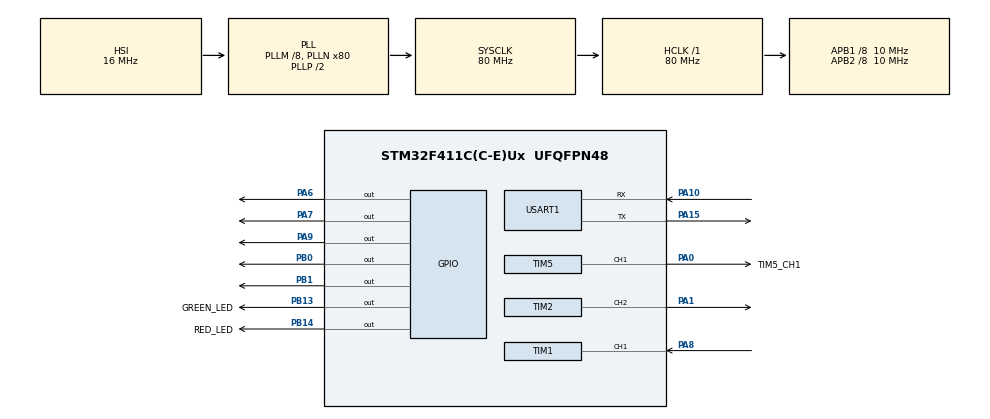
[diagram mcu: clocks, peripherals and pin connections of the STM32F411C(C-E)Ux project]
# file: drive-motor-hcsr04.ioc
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Dma.Request0=USART1_RX
Dma.USART1_RX.0.Direction=DMA_PERIPH_TO_MEMORY
Dma.USART1_RX.0.FIFOMode=DMA_FIFOMODE_DISABLE
Dma.USART1_RX.0.Instance=DMA2_Stream2
Dma.USART1_RX.0.MemDataAlignment=DMA_MDATAALIGN_BYTE
Dma.USART1_RX.0.MemInc=DMA_MINC_ENABLE
Dma.USART1_RX.0.Mode=DMA_NORMAL
Dma.USART1_RX.0.PeriphDataAlignment=DMA_PDATAALIGN_BYTE
Dma.USART1_RX.0.PeriphInc=DMA_PINC_DISABLE
Dma.USART1_RX.0.Priority=DMA_PRIORITY_LOW
Mcu.Family=STM32F4
Mcu.Name=STM32F411C(C-E)Ux
Mcu.Package=UFQFPN48
NVIC.DMA2_Stream2_IRQn=true\:0\:0\:false\:false\:true\:false\:true\:true
NVIC.PriorityGroup=NVIC_PRIORITYGROUP_4
NVIC.TIM1_CC_IRQn=true\:0\:0\:true\:false\:true\:true\:true\:true
NVIC.USART1_IRQn=true\:7\:0\:true\:false\:true\:true\:true\:true
PA0-WKUP.GPIO_Label=TIM5_CH1
PA0-WKUP.Signal=S_TIM5_CH1
PA1.Signal=S_TIM2_CH2
PA10.Mode=Asynchronous
PA10.Signal=USART1_RX
PA13.Mode=Serial_Wire
PA13.Signal=SYS_JTMS-SWDIO
PA14.Mode=Serial_Wire
PA14.Signal=SYS_JTCK-SWCLK
PA15.Mode=Asynchronous
PA15.Signal=USART1_TX
PA6.Signal=GPIO_Output
PA7.PinState=GPIO_PIN_RESET
PA7.Signal=GPIO_Output
PA8.Signal=S_TIM1_CH1
PA9.Signal=GPIO_Output
PB0.Signal=GPIO_Output
PB1.Signal=GPIO_Output
PB13.GPIO_Label=GREEN_LED
PB13.Signal=GPIO_Output
PB14.GPIO_Label=RED_LED
PB14.GPIO_PuPd=GPIO_PULLUP
PB14.PinState=GPIO_PIN_SET
PB14.Signal=GPIO_Output
PH0\ -\ OSC_IN.Mode=HSE-External-Oscillator
PH0\ -\ OSC_IN.Signal=RCC_OSC_IN
PH1\ -\ OSC_OUT.Mode=HSE-External-Oscillator
PH1\ -\ OSC_OUT.Signal=RCC_OSC_OUT
ProjectManager.HeapSize=0x200
ProjectManager.StackSize=0x400
ProjectManager.TargetToolchain=STM32CubeIDE
RCC.48MHZClocksFreq_Value=40000000
RCC.AHBFreq_Value=80000000
RCC.APB1CLKDivider=RCC_HCLK_DIV8
RCC.APB1Freq_Value=10000000
RCC.APB1TimFreq_Value=20000000
RCC.APB2CLKDivider=RCC_HCLK_DIV8
RCC.APB2Freq_Value=10000000
RCC.APB2TimFreq_Value=20000000
RCC.CortexFreq_Value=80000000
RCC.HCLKFreq_Value=80000000
RCC.HSE_VALUE=25000000
RCC.HSI_VALUE=16000000
RCC.LSE_VALUE=32768
RCC.PLLM=8
RCC.PLLN=80
RCC.SYSCLKFreq_VALUE=80000000
RCC.SYSCLKSource=RCC_SYSCLKSOURCE_PLLCLK
RCC.VCOOutputFreq_Value=160000000
SH.S_TIM1_CH1.0=TIM1_CH1,Input_Capture1_from_TI1
SH.S_TIM2_CH2.0=TIM2_CH2,PWM Generation2 CH2
SH.S_TIM5_CH1.0=TIM5_CH1,PWM Generation1 CH1
TIM1.AutoReloadPreload=TIM_AUTORELOAD_PRELOAD_DISABLE
TIM1.Channel-Input_Capture1_from_TI1=TIM_CHANNEL_1
TIM1.Period=0xffff-1
TIM1.Prescaler=20-1
TIM2.AutoReloadPreload=TIM_AUTORELOAD_PRELOAD_ENABLE
TIM2.Channel-PWM\ Generation2\ CH2=TIM_CHANNEL_2
TIM2.Period=50-1
TIM2.Prescaler=20-1
TIM5.AutoReloadPreload=TIM_AUTORELOAD_PRELOAD_ENABLE
TIM5.Channel-PWM\ Generation1\ CH1=TIM_CHANNEL_1
TIM5.Period=50-1
TIM5.Prescaler=20-1
USART1.VirtualMode=VM_ASYNC
VP_TIM1_VS_ClockSourceINT.Mode=Internal
VP_TIM2_VS_ClockSourceINT.Mode=Internal
board=custom

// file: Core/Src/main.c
/* USER CODE BEGIN Header */
/**
  ******************************************************************************
  * @file           : main.c
  * @brief          : Main program body
  ******************************************************************************
  * @attention
  *
  * Copyright (c) 2023 STMicroelectronics.
  * All rights reserved.
  *
  * This software is licensed under terms that can be found in the LICENSE file
  * in the root directory of this software component.
  * If no LICENSE file comes with this software, it is provided AS-IS.
  *
  ******************************************************************************
  */
/* USER CODE END Header */
#include "main.h"

/* USER CODE BEGIN Includes */
#include <stdio.h>
#include "motor.h"
#include "hcsr04.h"
#include <string.h>
#include "stm32f4xx_hal_tim.h"

/* USER CODE END Includes */

/* USER CODE BEGIN PD */
#define BUFFER_SIZE 8
#define GREEN_LED GPIO_PIN_13
#define RED_LED GPIO_PIN_14
#define SIZE_RX_COORD 10

#define kpx 0.5
#define kix 0.6
#define kdx 0.7
#define delta_time 0.1 // 0.1 segundos que é 100ms

/* USER CODE END PD */

TIM_HandleTypeDef htim1;
TIM_HandleTypeDef htim2;
TIM_HandleTypeDef htim5;

UART_HandleTypeDef huart1;
DMA_HandleTypeDef hdma_usart1_rx;

/* USER CODE BEGIN PV */
uint32_t val_1 = 0;
uint32_t val_2 = 0;
uint32_t difference = 0;
uint8_t flag_raise = 0;
uint16_t distance;
uint16_t stop_flag = 0;

int countfull=0;
uint8_t RxCoord[SIZE_RX_COORD];
int received_x, received_y, area,status;
double saidax;
//double offset;
//double sum_offsets = 0.0;
//double P, I, D;
//double pre_offset=0;
//double PID;

/* USER CODE END PV */

void SystemClock_Config(void);
static void MX_GPIO_Init(void);
static void MX_DMA_Init(void);
static void MX_TIM2_Init(void);
static void MX_TIM5_Init(void);
static void MX_TIM1_Init(void);
static void MX_USART1_UART_Init(void);

/* USER CODE BEGIN 0 */
void HAL_TIM_IC_CaptureCallback(TIM_HandleTypeDef *htim){
  	if (htim->Channel == HAL_TIM_ACTIVE_CHANNEL_1){
  		if (flag_raise==0){
  			val_1 = HAL_TIM_ReadCapturedValue(htim, TIM_CHANNEL_1);
  			flag_raise=1;
  			__HAL_TIM_SET_CAPTUREPOLARITY(htim, TIM_CHANNEL_1, TIM_INPUTCHANNELPOLARITY_FALLING);
  		}

  		else if (flag_raise == 1){
  			val_2 = HAL_TIM_ReadCapturedValue(htim, TIM_CHANNEL_1);
  			__HAL_TIM_SET_COUNTER(htim,0);

  			if (val_2 > val_1){
  				difference = val_2 - val_1;
  			}
  			else if (val_1 > val_2){
  				difference = (0xffff - val_1) + val_2;
  			}

  			distance = difference/58;
  			char message[50];
  			sprintf(message, "Distancia: %d cm \r\n",distance);
  			HAL_UART_Transmit(&huart1, (uint8_t*)message, strlen(message), HAL_MAX_DELAY);
  			if(distance > 15){
  				//HAL_GPIO_WritePin(GPIOB, GPIO_PIN_13, 1); //verde
  				HAL_GPIO_WritePin(GPIOB, GPIO_PIN_14, 0); //vermelho
  				stop_flag = 0;
  				//motor_stright();
  			}
  			else{
  				//HAL_GPIO_WritePin(GPIOB, GPIO_PIN_13, 0); //verde
  				HAL_GPIO_WritePin(GPIOB, GPIO_PIN_14, 1); //vermelho
  				stop_flag = 1;
  				//motor_desvia(distance);
  				//HAL_Delay(1500);
  				//motor_left();
  				//HAL_Delay(1500);
  			}

			flag_raise = 0;
			__HAL_TIM_SET_CAPTUREPOLARITY(htim, TIM_CHANNEL_1, TIM_INPUTCHANNELPOLARITY_RISING);
			__HAL_TIM_DISABLE_IT(&htim1, TIM_IT_CC1);
  		}
  	}
}

/* USER CODE END 0 */

int main(void)
{

  /* MCU Configuration--------------------------------------------------------*/

  /* Reset of all peripherals, Initializes the Flash interface and the Systick. */
  HAL_Init();

  /* Configure the system clock */
  SystemClock_Config();

  /* Initialize all configured peripherals */
  MX_GPIO_Init();
  MX_DMA_Init();
  MX_TIM2_Init();
  MX_TIM5_Init();
  MX_TIM1_Init();
  MX_USART1_UART_Init();
  /* USER CODE BEGIN 2 */
  HAL_TIM_PWM_Start(&htim2, TIM_CHANNEL_2);
  HAL_TIM_PWM_Start(&htim5, TIM_CHANNEL_1);
  HAL_TIM_IC_Start_IT(&htim1, TIM_CHANNEL_1);
  HAL_UART_Receive_DMA(&huart1, RxCoord, SIZE_RX_COORD) ;

  /* USER CODE END 2 */

  /* Infinite loop */
  /* USER CODE BEGIN WHILE */
  while (1)
  {
	  //motor_stright();
//	  HAL_Delay(5000);
//	  motor_stop();
//	  HAL_Delay(5000);
//	  motor_right();
//	  HAL_Delay(5000);
//	  motor_stop();
//	  HAL_Delay(5000);
//	  motor_left();
//	  HAL_Delay(5000);
//	  motor_stop();
//	  HAL_Delay(5000);
//	  motor_backwards();
//	  HAL_Delay(5000);
//	  motor_stop();
//	  HAL_Delay(5000);
	  Read_HCSR04();
	  HAL_Delay(200);
//	  if(distance > 15){
//		HAL_GPIO_WritePin(GPIOB, GREEN_LED, 1); //verde
//		HAL_GPIO_WritePin(GPIOB, RED_LED, 0); //vermelho
//		//motor_stright();
//	  }
//	  else if(distance <= 15){
//		HAL_GPIO_WritePin(GPIOB, GREEN_LED, 0); //verde
//		HAL_GPIO_WritePin(GPIOB, RED_LED, 1); //vermelho
//		//motor_desvia(distance);
//    }

    /* USER CODE END WHILE */

  }
}

void SystemClock_Config(void)
{
  RCC_OscInitTypeDef RCC_OscInitStruct = {0};
  RCC_ClkInitTypeDef RCC_ClkInitStruct = {0};

  /** Configure the main internal regulator output voltage
  */
  __HAL_RCC_PWR_CLK_ENABLE();
  __HAL_PWR_VOLTAGESCALING_CONFIG(PWR_REGULATOR_VOLTAGE_SCALE1);

  /** Initializes the RCC Oscillators according to the specified parameters
  * in the RCC_OscInitTypeDef structure.
  */
  RCC_OscInitStruct.OscillatorType = RCC_OSCILLATORTYPE_HSI;
  RCC_OscInitStruct.HSIState = RCC_HSI_ON;
  RCC_OscInitStruct.HSICalibrationValue = RCC_HSICALIBRATION_DEFAULT;
  RCC_OscInitStruct.PLL.PLLState = RCC_PLL_ON;
  RCC_OscInitStruct.PLL.PLLSource = RCC_PLLSOURCE_HSI;
  RCC_OscInitStruct.PLL.PLLM = 8;
  RCC_OscInitStruct.PLL.PLLN = 80;
  RCC_OscInitStruct.PLL.PLLP = RCC_PLLP_DIV2;
  RCC_OscInitStruct.PLL.PLLQ = 4;
  if (HAL_RCC_OscConfig(&RCC_OscInitStruct) != HAL_OK)
  {
    Error_Handler();
  }

  /** Initializes the CPU, AHB and APB buses clocks
  */
  RCC_ClkInitStruct.ClockType = RCC_CLOCKTYPE_HCLK|RCC_CLOCKTYPE_SYSCLK
                              |RCC_CLOCKTYPE_PCLK1|RCC_CLOCKTYPE_PCLK2;
  RCC_ClkInitStruct.SYSCLKSource = RCC_SYSCLKSOURCE_PLLCLK;
  RCC_ClkInitStruct.AHBCLKDivider = RCC_SYSCLK_DIV1;
  RCC_ClkInitStruct.APB1CLKDivider = RCC_HCLK_DIV8;
  RCC_ClkInitStruct.APB2CLKDivider = RCC_HCLK_DIV8;

  if (HAL_RCC_ClockConfig(&RCC_ClkInitStruct, FLASH_LATENCY_2) != HAL_OK)
  {
    Error_Handler();
  }
}

static void MX_TIM1_Init(void)
{

  TIM_ClockConfigTypeDef sClockSourceConfig = {0};
  TIM_MasterConfigTypeDef sMasterConfig = {0};
  TIM_IC_InitTypeDef sConfigIC = {0};

  htim1.Instance = TIM1;
  htim1.Init.Prescaler = 20-1;
  htim1.Init.CounterMode = TIM_COUNTERMODE_UP;
  htim1.Init.Period = 0xffff-1;
  htim1.Init.ClockDivision = TIM_CLOCKDIVISION_DIV1;
  htim1.Init.RepetitionCounter = 0;
  htim1.Init.AutoReloadPreload = TIM_AUTORELOAD_PRELOAD_DISABLE;
  if (HAL_TIM_Base_Init(&htim1) != HAL_OK)
  {
    Error_Handler();
  }
  sClockSourceConfig.ClockSource = TIM_CLOCKSOURCE_INTERNAL;
  if (HAL_TIM_ConfigClockSource(&htim1, &sClockSourceConfig) != HAL_OK)
  {
    Error_Handler();
  }
  if (HAL_TIM_IC_Init(&htim1) != HAL_OK)
  {
    Error_Handler();
  }
  sMasterConfig.MasterOutputTrigger = TIM_TRGO_RESET;
  sMasterConfig.MasterSlaveMode = TIM_MASTERSLAVEMODE_DISABLE;
  if (HAL_TIMEx_MasterConfigSynchronization(&htim1, &sMasterConfig) != HAL_OK)
  {
    Error_Handler();
  }
  sConfigIC.ICPolarity = TIM_INPUTCHANNELPOLARITY_RISING;
  sConfigIC.ICSelection = TIM_ICSELECTION_DIRECTTI;
  sConfigIC.ICPrescaler = TIM_ICPSC_DIV1;
  sConfigIC.ICFilter = 0;
  if (HAL_TIM_IC_ConfigChannel(&htim1, &sConfigIC, TIM_CHANNEL_1) != HAL_OK)
  {
    Error_Handler();
  }

}

static void MX_TIM2_Init(void)
{

  TIM_ClockConfigTypeDef sClockSourceConfig = {0};
  TIM_MasterConfigTypeDef sMasterConfig = {0};
  TIM_OC_InitTypeDef sConfigOC = {0};

  htim2.Instance = TIM2;
  htim2.Init.Prescaler = 20-1;
  htim2.Init.CounterMode = TIM_COUNTERMODE_UP;
  htim2.Init.Period = 50-1;
  htim2.Init.ClockDivision = TIM_CLOCKDIVISION_DIV1;
  htim2.Init.AutoReloadPreload = TIM_AUTORELOAD_PRELOAD_ENABLE;
  if (HAL_TIM_Base_Init(&htim2) != HAL_OK)
  {
    Error_Handler();
  }
  sClockSourceConfig.ClockSource = TIM_CLOCKSOURCE_INTERNAL;
  if (HAL_TIM_ConfigClockSource(&htim2, &sClockSourceConfig) != HAL_OK)
  {
    Error_Handler();
  }
  if (HAL_TIM_PWM_Init(&htim2) != HAL_OK)
  {
    Error_Handler();
  }
  sMasterConfig.MasterOutputTrigger = TIM_TRGO_RESET;
  sMasterConfig.MasterSlaveMode = TIM_MASTERSLAVEMODE_DISABLE;
  if (HAL_TIMEx_MasterConfigSynchronization(&htim2, &sMasterConfig) != HAL_OK)
  {
    Error_Handler();
  }
  sConfigOC.OCMode = TIM_OCMODE_PWM1;
  sConfigOC.Pulse = 0;
  sConfigOC.OCPolarity = TIM_OCPOLARITY_HIGH;
  sConfigOC.OCFastMode = TIM_OCFAST_DISABLE;
  if (HAL_TIM_PWM_ConfigChannel(&htim2, &sConfigOC, TIM_CHANNEL_2) != HAL_OK)
  {
    Error_Handler();
  }
  HAL_TIM_MspPostInit(&htim2);

}

static void MX_TIM5_Init(void)
{

  TIM_MasterConfigTypeDef sMasterConfig = {0};
  TIM_OC_InitTypeDef sConfigOC = {0};

  htim5.Instance = TIM5;
  htim5.Init.Prescaler = 20-1;
  htim5.Init.CounterMode = TIM_COUNTERMODE_UP;
  htim5.Init.Period = 50-1;
  htim5.Init.ClockDivision = TIM_CLOCKDIVISION_DIV1;
  htim5.Init.AutoReloadPreload = TIM_AUTORELOAD_PRELOAD_ENABLE;
  if (HAL_TIM_PWM_Init(&htim5) != HAL_OK)
  {
    Error_Handler();
  }
  sMasterConfig.MasterOutputTrigger = TIM_TRGO_RESET;
  sMasterConfig.MasterSlaveMode = TIM_MASTERSLAVEMODE_DISABLE;
  if (HAL_TIMEx_MasterConfigSynchronization(&htim5, &sMasterConfig) != HAL_OK)
  {
    Error_Handler();
  }
  sConfigOC.OCMode = TIM_OCMODE_PWM1;
  sConfigOC.Pulse = 0;
  sConfigOC.OCPolarity = TIM_OCPOLARITY_HIGH;
  sConfigOC.OCFastMode = TIM_OCFAST_DISABLE;
  if (HAL_TIM_PWM_ConfigChannel(&htim5, &sConfigOC, TIM_CHANNEL_1) != HAL_OK)
  {
    Error_Handler();
  }
  HAL_TIM_MspPostInit(&htim5);

}

static void MX_USART1_UART_Init(void)
{

  huart1.Instance = USART1;
  huart1.Init.BaudRate = 115200;
  huart1.Init.WordLength = UART_WORDLENGTH_8B;
  huart1.Init.StopBits = UART_STOPBITS_1;
  huart1.Init.Parity = UART_PARITY_NONE;
  huart1.Init.Mode = UART_MODE_TX_RX;
  huart1.Init.HwFlowCtl = UART_HWCONTROL_NONE;
  huart1.Init.OverSampling = UART_OVERSAMPLING_16;
  if (HAL_UART_Init(&huart1) != HAL_OK)
  {
    Error_Handler();
  }

}

static void MX_DMA_Init(void)
{

  /* DMA controller clock enable */
  __HAL_RCC_DMA2_CLK_ENABLE();

  /* DMA interrupt init */
  /* DMA2_Stream2_IRQn interrupt configuration */
  HAL_NVIC_SetPriority(DMA2_Stream2_IRQn, 0, 0);
  HAL_NVIC_EnableIRQ(DMA2_Stream2_IRQn);

}

static void MX_GPIO_Init(void)
{
  GPIO_InitTypeDef GPIO_InitStruct = {0};

  /* GPIO Ports Clock Enable */
  __HAL_RCC_GPIOH_CLK_ENABLE();
  __HAL_RCC_GPIOA_CLK_ENABLE();
  __HAL_RCC_GPIOB_CLK_ENABLE();

  /*Configure GPIO pin Output Level */
  HAL_GPIO_WritePin(GPIOA, GPIO_PIN_6|GPIO_PIN_7|GPIO_PIN_9, GPIO_PIN_RESET);

  /*Configure GPIO pin Output Level */
  HAL_GPIO_WritePin(GPIOB, GPIO_PIN_0|GPIO_PIN_1|GREEN_LED_Pin, GPIO_PIN_RESET);

  /*Configure GPIO pin Output Level */
  HAL_GPIO_WritePin(RED_LED_GPIO_Port, RED_LED_Pin, GPIO_PIN_SET);

  /*Configure GPIO pins : PA6 PA7 PA9 */
  GPIO_InitStruct.Pin = GPIO_PIN_6|GPIO_PIN_7|GPIO_PIN_9;
  GPIO_InitStruct.Mode = GPIO_MODE_OUTPUT_PP;
  GPIO_InitStruct.Pull = GPIO_NOPULL;
  GPIO_InitStruct.Speed = GPIO_SPEED_FREQ_LOW;
  HAL_GPIO_Init(GPIOA, &GPIO_InitStruct);

  /*Configure GPIO pins : PB0 PB1 GREEN_LED_Pin */
  GPIO_InitStruct.Pin = GPIO_PIN_0|GPIO_PIN_1|GREEN_LED_Pin;
  GPIO_InitStruct.Mode = GPIO_MODE_OUTPUT_PP;
  GPIO_InitStruct.Pull = GPIO_NOPULL;
  GPIO_InitStruct.Speed = GPIO_SPEED_FREQ_LOW;
  HAL_GPIO_Init(GPIOB, &GPIO_InitStruct);

  /*Configure GPIO pin : RED_LED_Pin */
  GPIO_InitStruct.Pin = RED_LED_Pin;
  GPIO_InitStruct.Mode = GPIO_MODE_OUTPUT_PP;
  GPIO_InitStruct.Pull = GPIO_PULLUP;
  GPIO_InitStruct.Speed = GPIO_SPEED_FREQ_LOW;
  HAL_GPIO_Init(RED_LED_GPIO_Port, &GPIO_InitStruct);

}

/* USER CODE BEGIN 4 */

void HAL_UART_RxCpltCallback(UART_HandleTypeDef *huart){
	countfull++;
	sscanf(RxCoord, "(%d,%d,%d)", &received_x, &received_y, &area);
	if (received_x == 0 && area == 0){
		motor_stop();
	}
	else{
	motor_handle(received_x, area, stop_flag);
	//motor_right();
	}
	HAL_UART_Receive_DMA(&huart1, RxCoord, SIZE_RX_COORD);

}

void motor_handle(int x, int area, uint16_t stop_flag){

	if (stop_flag == 0){
		if(x < 46){
			motor_right();
			status = 1;
		}
		if (x > 66){
			motor_left();
			status = 2;
		}
		if (x >= 46 && x <= 66){
			motor_stop();
			status = 3;
		}
		if (x==0){
			motor_stop();
		}

		if (area < 12){
			motor_stright();
		}

		if (area > 20){
			motor_backwards();
		}

//		if (area >= 20 && area <= 12){
//			motor_stop();
		}
	else{
		motor_stop();
	}

}

/* USER CODE END 4 */

void Error_Handler(void)
{
  __disable_irq();
  while (1)
  {
  }
}
